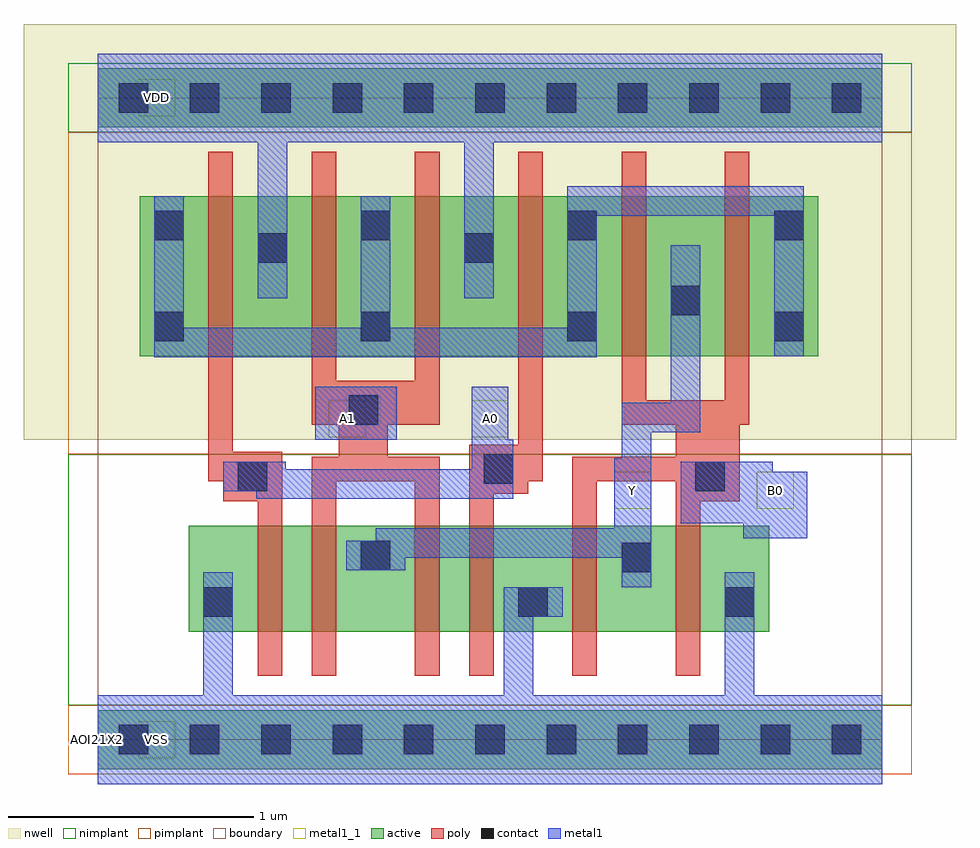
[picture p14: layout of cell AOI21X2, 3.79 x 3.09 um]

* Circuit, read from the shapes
.subckt AOI21X2 A0 A1 B0 VDD VSS Y
M1 n1 A0 VSS VSS nfet w=0.43u l=0.1u
M2 Y A1 n1 VSS nfet w=0.43u l=0.1u
M3 n2 A1 Y VSS nfet w=0.43u l=0.1u
M4 VSS A0 n2 VSS nfet w=0.43u l=0.1u
M5 Y B0 VSS VSS nfet w=0.43u l=0.1u m=2
M6 VDD A0 n3 VDD pfet w=0.65u l=0.1u m=2
M7 n3 A1 VDD VDD pfet w=0.65u l=0.1u m=2
M8 Y B0 n3 VDD pfet w=0.65u l=0.1u m=2
.ends

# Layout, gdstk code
import gdstk
lib = gdstk.Library(unit=1e-6, precision=5e-10)
def R(c, l, rs):  # rectangles x0, y0, x1, y1
    for r in rs: c.add(gdstk.rectangle(r[:2], r[2:], *l))
def A(c, l, x, y, w, h, nx, ny, dx, dy):  # array of equal rectangles
    R(c, l, [(x+i*dx, y+j*dy, x+i*dx+w, y+j*dy+h) for i in range(nx) for j in range(ny)])
active = (1, 0)
nwell = (2, 0)
poly = (3, 0)
nimplant = (4, 0)
pimplant = (5, 0)
contact = (6, 0)
metal1 = (7, 0)
metal1_1 = (7, 1)
boundary = (62, 0)

aoi21x2 = lib.new_cell('AOI21X2')
R(aoi21x2, active, [(0,-0.12,3.19,0.12), (0.37,0.44,2.73,0.87), (0.17,1.56,2.93,2.21), (0,2.49,3.19,2.73)])
R(aoi21x2, nwell, [(-0.3,1.22,3.49,2.91)])
R(aoi21x2, poly, [(0.65,0.26,0.75,0.97), (0.87,0.26,0.97,1.05), (1.29,0.26,1.39,1.05), (1.51,0.26,1.61,1), (1.93,0.26,2.03,1.05), (2.35,0.26,2.45,0.97), (0.51,0.97,0.75,1.05), (2.35,0.97,2.61,1.05), (1.51,1,1.75,1.05), (0.45,1.05,0.75,1.17), (0.87,1.05,1.39,1.15), (1.51,1.05,1.81,1.2), (1.93,1.05,2.61,1.15), (0.98,1.15,1.18,1.28), (2.35,1.15,2.61,1.28), (0.45,1.17,0.55,2.39), (1.71,1.2,1.81,2.39), (0.87,1.28,1.39,1.46), (2.13,1.28,2.65,1.38), (2.13,1.38,2.23,2.39), (2.55,1.38,2.65,2.39), (0.87,1.46,0.97,2.39), (1.29,1.46,1.39,2.39)])
R(aoi21x2, nimplant, [(-0.12,0.14,3.31,1.16), (-0.12,2.47,3.31,2.75)])
R(aoi21x2, pimplant, [(-0.12,-0.14,3.31,0.14), (-0.12,1.16,3.31,2.47)])
A(aoi21x2, contact, 0.085, -0.06, 0.12, 0.12, 11, 2, 0.29, 2.61)
A(aoi21x2, contact, 0.23, 1.62, 0.12, 0.12, 4, 2, 0.84, 0.41)
R(aoi21x2, contact, [(0.43,0.5,0.55,0.62), (1.71,0.5,1.83,0.62), (2.55,0.5,2.67,0.62), (2.13,0.68,2.25,0.8), (1.07,0.69,1.19,0.81), (0.57,1.01,0.69,1.13), (2.43,1.01,2.55,1.13), (1.57,1.04,1.69,1.16), (1.02,1.28,1.14,1.4), (2.33,1.725,2.45,1.845), (0.65,1.94,0.77,2.06), (1.49,1.94,1.61,2.06)])
R(aoi21x2, metal1, [(0,-0.18,3.19,0.18), (0.43,0.18,0.55,0.68), (1.65,0.18,1.77,0.5), (2.55,0.18,2.67,0.68), (1.65,0.5,1.89,0.62), (2.13,0.62,2.25,0.74), (1.01,0.69,1.25,0.74), (1.01,0.74,2.25,0.81), (1.13,0.81,2.25,0.86), (2.625,0.82,2.885,0.88), (2.1,0.86,2.25,1.145), (2.37,0.88,2.885,1.09), (0.645,0.98,1.69,1.01), (0.51,1.01,1.69,1.1), (2.37,1.09,2.745,1.13), (0.51,1.1,0.765,1.13), (1.52,1.1,1.69,1.22), (2.13,1.145,2.25,1.25), (0.885,1.22,1.215,1.435), (1.52,1.22,1.67,1.435), (2.13,1.25,2.45,1.37), (2.33,1.37,2.45,2.01), (0.23,1.555,2.03,1.675), (2.75,1.56,2.87,2.13), (0.23,1.675,0.35,2.21), (1.07,1.675,1.19,2.21), (1.91,1.675,2.03,2.13), (0.65,1.795,0.77,2.43), (1.49,1.795,1.61,2.43), (1.91,2.13,2.87,2.25), (0,2.43,3.19,2.79)])
R(aoi21x2, metal1_1, [(0.165,-0.075,0.315,0.075), (2.1,0.94,2.25,1.09), (2.68,0.94,2.83,1.09), (0.94,1.23,1.09,1.38), (1.52,1.23,1.67,1.38), (0.165,2.535,0.315,2.685)])
R(aoi21x2, boundary, [(0,0,3.19,2.61)])
aoi21x2.add(gdstk.Label('AOI21X2', (0,0), layer=63, texttype=0))
aoi21x2.add(gdstk.Label('Y', (2.175,1.015), layer=7, texttype=3))
aoi21x2.add(gdstk.Label('A1', (1.015,1.305), layer=7, texttype=3))
aoi21x2.add(gdstk.Label('A0', (1.595,1.305), layer=7, texttype=3))
aoi21x2.add(gdstk.Label('B0', (2.755,1.015), layer=7, texttype=3))
aoi21x2.add(gdstk.Label('VDD', (0.24,2.61), layer=7, texttype=3))
aoi21x2.add(gdstk.Label('VSS', (0.24,0), layer=7, texttype=3))

lib.write_gds('AOI21X2.gds')
